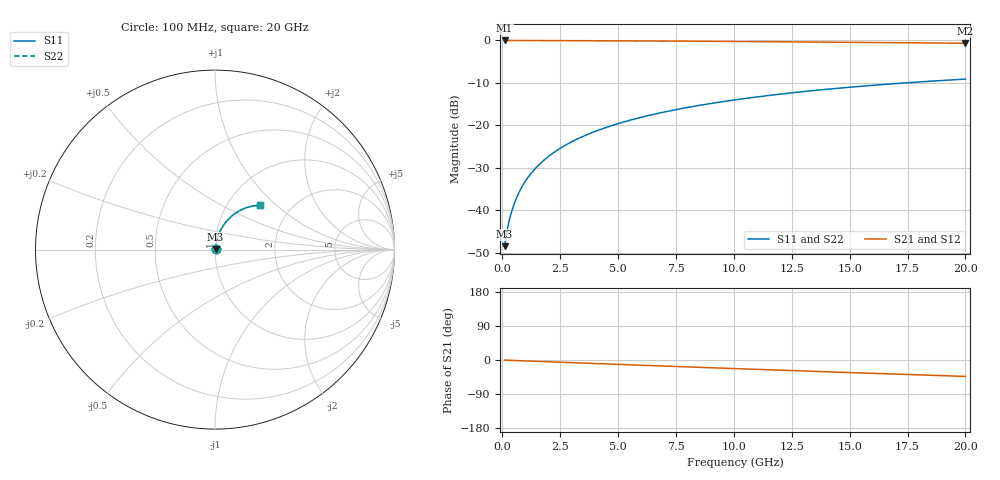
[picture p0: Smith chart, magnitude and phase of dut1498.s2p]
! Touchstone file exported from HFSS 2026.1.0
!  File:  C:/ffzhzh/LocalFiles/Ansys_Project_Files/temp_train_TMRDL_1498_1783167985_55132.aedt
!  Generated:  08:27:39 PM Jul  4, 2026
!  Design:  TMRDL
!  Project:  temp_train_TMRDL_1498_1783167985_55132
! Variables:
!  h_bsmrdl = 2um
!  h_ox = 20um
!  h_rdl = 5um
!  h_sub = 80um
!  h_tmrdl = 4.37um
!  h_tsv = 80um
!  h_via = 3um
!  l_bsmrdl = 300um
!  l_sub = 1071.01um
!  l_tmrdl = 671.01um
!  m_sub = 200um
!  pitch = 39.96um
!  r_tsv = 6um
!  s_tmrdl = 10um
!  w_bsmrdl = 18um
!  w_sub = 500um
!  w_tmrdl = 19.46um
!  x_tsv_center1 = 680.74um
!  x_tsv_center2 = 998.74um
!  x_tsv_center3 = 1689.21um
!  x_tsv_center4 = 2007.21um
!  x_tsv_center5 = 2697.68um
!  x_tsv_center6 = 3015.68um
# GHz S MA R 50.000000
! Terminal data exported
! Port[1] = TM_RDL1_1_T1
! Port[2] = TM_RDL1_1_T2
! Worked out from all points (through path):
!   200 points, 100 MHz to 20 GHz, reference 50 ohm
!   highest |S21| = -0.03 dB at 100 MHz (marker M1); lowest = -0.7 dB at 20 GHz (marker M2)
!   group delay of S21, straight-line fit = 6.01 ps
!   lowest |S11| = -48.4 dB at 100 MHz (marker M3), VSWR 1.01, Z = 50.3 + j0.24 ohm
!   |S11| at or under -10 dB: start of sweep to 17.41 GHz
!   |S22| runs from -48.4 to -9.1 dB; largest |S21 - S12| = 2.7e-15
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0.1  0.003803 38.8  0.997 -0.2  0.997 -0.2  0.003803 38.8
! Gamma 0 0 0 0
! Port Impedance 50 0 50 0
0.2  0.005627 55.8  0.9969 -0.5  0.9969 -0.5  0.005627 55.8
0.3  0.007612 63.8  0.9967 -0.7  0.9967 -0.7  0.007612 63.8
0.4  0.009633 68.4  0.9966 -1.0  0.9966 -1.0  0.009633 68.4
0.5  0.01168 71.5  0.9965 -1.2  0.9965 -1.2  0.01168 71.5
0.6  0.01374 73.6  0.9964 -1.4  0.9964 -1.4  0.01374 73.6
0.8  0.01791 76.3  0.9962 -1.9  0.9962 -1.9  0.01791 76.3
1.1  0.02423 78.4  0.9959 -2.6  0.9959 -2.6  0.02423 78.4
1.3  0.02847 79.1  0.9957 -3.1  0.9957 -3.1  0.02847 79.1
1.6  0.03482 79.6  0.9954 -3.8  0.9954 -3.8  0.03482 79.6
2.1  0.04539 79.6  0.9946 -4.9  0.9946 -4.9  0.04539 79.6
2.7  0.05798 79.0  0.9936 -6.3  0.9936 -6.3  0.05798 79.0
3.5  0.07455 77.7  0.9919 -8.1  0.9919 -8.1  0.07455 77.7
4.2  0.08883 76.4  0.9901 -9.7  0.9901 -9.7  0.08883 76.4
5  0.1049 74.9  0.9879 -11.6  0.9879 -11.6  0.1049 74.9
5.9  0.1226 73.0  0.9852 -13.6  0.9852 -13.6  0.1226 73.0
6.8  0.14 71.2  0.9823 -15.6  0.9823 -15.6  0.14 71.2
8.3  0.1681 68.1  0.9769 -18.9  0.9769 -18.9  0.1681 68.1
10.1  0.2006 64.4  0.9699 -22.8  0.9699 -22.8  0.2006 64.4
13.4  0.2562 57.7  0.9556 -29.9  0.9556 -29.9  0.2562 57.7
16.7  0.3062 51.2  0.9401 -36.7  0.9401 -36.7  0.3062 51.1
20  0.3503 44.8  0.9242 -43.3  0.9242 -43.3  0.3503 44.7
